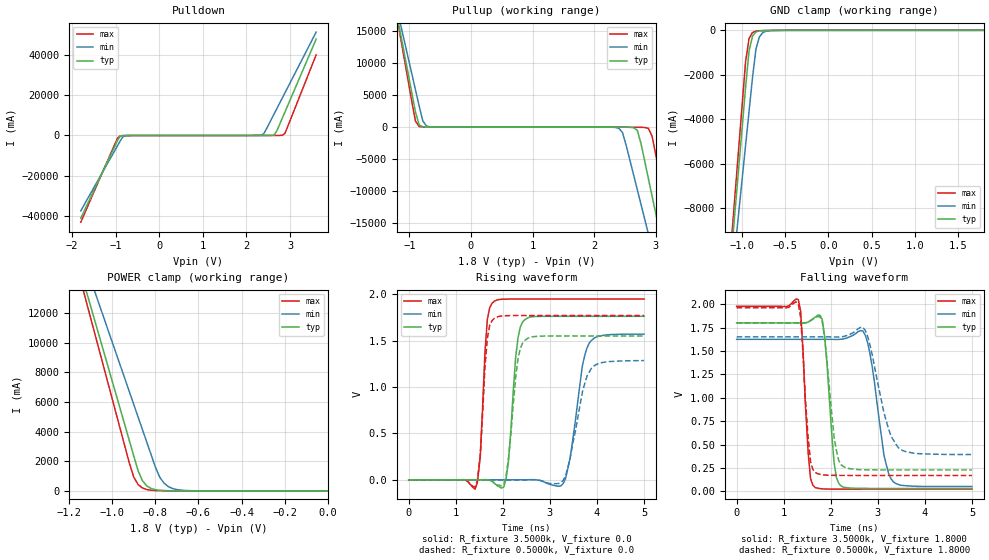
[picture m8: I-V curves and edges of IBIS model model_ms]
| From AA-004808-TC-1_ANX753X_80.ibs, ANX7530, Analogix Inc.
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[Model]  model_ms
Model_type I/O
Polarity   Non-Inverting
C_comp   2.3000pF   NA   NA
[Temperature Range]   27.0000   100.0000   0.0
[Voltage Range]   1.8000V   1.6200V   1.9800V
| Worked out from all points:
|   slope of the pulldown table from 0 to 0.27 V, typ, clamps not added: 75.7 ohm
|   slope of the pullup table from 0 to 0.27 V, typ, clamps not added: 81.2 ohm
|   GND clamp passes 1 mA (typ) near -0.52 V on its own axis
|   POWER clamp passes 1 mA (typ) near -0.46 V on its own axis
|   rising waveform, R_fixture 3.5000k, V_fixture 0.0: 20-80 % time 151ps typ, 250ps min, 113ps max; typ from 0 V to 1.76 V
|   rising waveform, R_fixture 0.5000k, V_fixture 0.0: 20-80 % time 170ps typ, 296ps min, 123ps max; typ from 0 V to 1.55 V
|   falling waveform, R_fixture 3.5000k, V_fixture 1.8000: 20-80 % time 152ps typ, 254ps min, 118ps max; typ from 1.8 V to 0.032 V
|   falling waveform, R_fixture 0.5000k, V_fixture 1.8000: 20-80 % time 182ps typ, 340ps min, 136ps max; typ from 1.8 V to 0.23 V
[GND_clamp]
|Voltage   I(typ)   I(min)   I(max)
-1.8V     -41.12A    -37.43A    -43.07A
-1.12V    -9.872A    -11.29A    -9.268A
-1.08V    -8.044A    -9.764A    -7.295A
-1.04V    -6.22A     -8.236A    -5.327A
-960mV    -2.582A    -5.185A    -1.419A
-920mV    -934.9mA   -3.663A    -373.8mA
-880mV    -262.2mA   -2.143A    -96.84mA
-840mV    -74.87mA   -850.4mA   -33.51mA
-800mV    -26.51mA   -296.9mA   -18.34mA
-760mV    -13.26mA   -101.8mA   -13.32mA
-720mV    -8.629mA   -36.44mA   -10.45mA
1.8V      80.5pA     8.746uA    -12.69uA
[POWER_clamp]
|Voltage   I(typ)   I(min)   I(max)
-1.8V     47.86A     43.79A     49.88A
-1.14V    14.49A     15.95A     13.86A
-1.12V    13.48A     15.11A     12.77A
-1.1V     12.47A     14.27A     11.68A
-1.08V    11.46A     13.42A     10.59A
-1.06V    10.45A     12.58A     9.498A
-920mV    3.374A     6.68A      1.858A
-900mV    2.363A     5.837A     932.5mA
-860mV    698.8mA    4.15A      200.8mA
-780mV    42.58mA    941.8mA    17.22mA
-720mV    10.01mA    163.4mA    9.268mA
0V        80.5pA     853.4pA    76.46pA
[Pulldown]
|Voltage   I(typ)   I(min)   I(max)
-1.8V     -41.13A    -37.44A    -43.09A
-960mV    -2.594A    -5.193A    -1.433A
-900mV    -512.5mA   -2.91A     -203.5mA
-840mV    -87.72mA   -858.3mA   -49.49mA
-720mV    -20.12mA   -44.12mA   -24.62mA
2.34V     9.432mA    167.5mA    11.31mA
2.4V      10.73mA    945.9mA    11.92mA
2.64V     351.1mA    10.9A      17.75mA
2.7V      2.37A      13.43A     20.25mA
2.82V     8.437A     18.49A     105.1mA
2.88V     11.47A     21.02A     943.6mA
3.6V      47.87A     51.39A     40.07A
[Pullup]
|Voltage   I(typ)   I(min)   I(max)
-1.8V     47.88A     43.8A      49.9A
-1.2V     17.54A     18.49A     17.15A
-1.14V    14.5A      15.96A     13.87A
-900mV    2.373A     5.844A     945.8mA
-840mV    355mA      3.314A     108.5mA
-660mV    15.14mA    35.76mA    18.91mA
2.4V      -11.54mA   -178.6mA   -12.95mA
2.7V      -508.5mA   -9.769A    -23.33mA
2.88V     -8.053A    -16.66A    -200.1mA
3.06V     -16.29A    -23.58A    -7.308A
3.24V     -24.56A    -30.5A     -16.21A
3.6V      -41.13A    -44.36A    -34.11A
[Ramp]
| variable   typ   min   max
dV/dt_r  0.2424/0.2046n   0.1446/0.3168n   0.3584/0.1566n
dV/dt_f  0.2136/0.2204n   0.1200/0.3265n   0.3228/0.1719n
R_load = 50.0000
[Rising Waveform]
R_fixture= 3.5000k
V_fixture= 0.0
|time   V(typ)   V(min)   V(max)
0s        0V         0V         0V
1.41ns    -20.23uV   0V         -101.2mV
1.52ns    -46.39uV   0V         254.8mV
1.67ns    595uV      0V         1.728V
1.82ns    -37.79mV   243.9nV    1.926V
2.07ns    15.45mV    2.043uV    1.948V
2.42ns    1.702V     -28.13uV   1.949V
3.33ns    1.763V     9.335mV    1.949V
3.84ns    1.763V     1.478V     1.949V
5ns       1.763V     1.571V     1.949V
[Rising Waveform]
R_fixture= 0.5000k
V_fixture= 0.0
|time   V(typ)   V(min)   V(max)
0s        0V         0V         0V
1.41ns    -19.32uV   0V         -79mV
1.67ns    526.3uV    0V         1.522V
1.82ns    -34.68mV   218.1nV    1.74V
2.07ns    44.78mV    1.811uV    1.77V
2.32ns    1.299V     -12.62uV   1.771V
2.47ns    1.505V     -31.96uV   1.771V
3.28ns    1.551V     -7.971mV   1.771V
3.89ns    1.551V     1.209V     1.771V
5ns       1.551V     1.286V     1.771V
[Falling Waveform]
R_fixture= 3.5000k
V_fixture= 1.8000
|time   V(typ)   V(min)   V(max)
0s        1.8V       1.625V     1.977V
1.31ns    1.8V       1.625V     2.05V
1.52ns    1.809V     1.625V     410.8mV
1.67ns    1.862V     1.625V     41.91mV
1.82ns    1.834V     1.625V     27.82mV
2.07ns    309.4mV    1.624V     24.69mV
2.17ns    85.84mV    1.624V     24.54mV
2.73ns    32.44mV    1.673V     24.41mV
3.33ns    32.14mV    102.3mV    24.41mV
5ns       32.13mV    52.76mV    24.41mV
[Falling Waveform]
R_fixture= 0.5000k
V_fixture= 1.8000
|time   V(typ)   V(min)   V(max)
0s        1.8V       1.651V     1.962V
1.31ns    1.8V       1.651V     2.005V
1.52ns    1.809V     1.651V     571.3mV
1.67ns    1.855V     1.651V     202.1mV
1.82ns    1.81V      1.651V     178.9mV
2.07ns    581.9mV    1.65V      171.9mV
2.22ns    285.4mV    1.652V     171.3mV
2.73ns    231.3mV    1.722V     171mV
3.43ns    230mV      469.9mV    171mV
5ns       230mV      394.3mV    171mV
